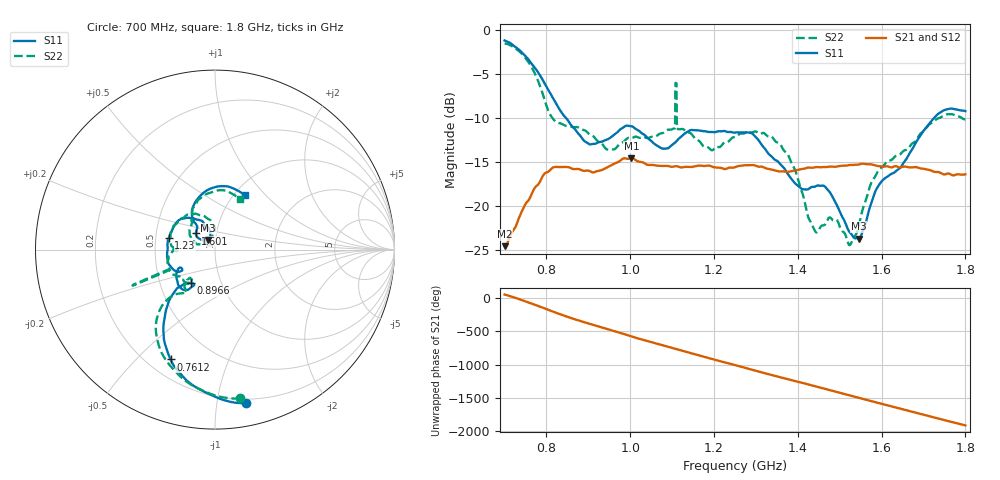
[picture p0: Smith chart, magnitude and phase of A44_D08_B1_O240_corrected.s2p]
! Created with skrf 1.9.0 (http://scikit-rf.org).
# Hz S RI R 50.0
!freq ReS11 ImS11 ReS21 ImS21 ReS12 ImS12 ReS22 ImS22
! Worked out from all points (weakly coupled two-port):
!   1601 points, 700 MHz to 1.8 GHz, reference 50 ohm
!   highest |S21| = -14.53 dB at 1.002 GHz (marker M1); lowest = -24.5 dB at 700.7 MHz (marker M2)
!   lowest |S11| = -23.7 dB at 1.546 GHz (marker M3), VSWR 1.14, Z = 46.1 + j5 ohm
!   |S11| at or under -10 dB: 847 MHz to 1.725 GHz (877.6 MHz wide, 68.3 % of centre)
!   |S22| runs from -24.4 to -1.5 dB; largest |S21 - S12| = 0.0036
!   S11 on the Smith chart (normalised r, x): 700 MHz: 0.17, -1.21; 761.2 MHz: 0.29, -0.63; 896.6 MHz: 0.72, -0.28; 1.23 GHz: 0.59, +0.08; 1.601 GHz: 0.80, +0.15; 1.8 GHz: 1.11, +0.77
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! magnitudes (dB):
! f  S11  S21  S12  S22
! 700 MHz  -1.2  -24.5  -24.3  -1.5
! 700.7 MHz  -1.2  -24.5  -24.2  -1.5
! 761.2 MHz  -3.6  -19.0  -18.9  -3.9
! 815.5 MHz  -7.7  -15.6  -15.7  -10.1
! 883.6 MHz  -12.2  -15.9  -15.8  -11.3
! 896.6 MHz  -12.8  -15.9  -16.0  -11.6
! 947.5 MHz  -12.4  -15.5  -15.5  -13.6
! 1.002 GHz  -10.9  -14.5  -14.6  -12.3
! 1.067 GHz  -13.2  -15.4  -15.3  -11.9
! 1.109 GHz  -12.7  -15.5  -15.5  -6.0
! 1.176 GHz  -11.5  -15.4  -15.4  -13.2
! 1.23 GHz  -11.5  -15.7  -15.7  -12.7
! 1.25 GHz  -11.6  -15.6  -15.5  -12.1
! 1.357 GHz  -15.2  -16.1  -16.0  -12.9
! 1.434 GHz  -17.8  -15.6  -15.6  -22.1
! 1.491 GHz  -19.7  -15.5  -15.5  -21.5
! 1.524 GHz  -22.9  -15.3  -15.3  -24.4
! 1.546 GHz  -23.7  -15.3  -15.2  -22.2
! 1.601 GHz  -17.1  -15.5  -15.5  -15.6
! 1.617 GHz  -16.5  -15.5  -15.5  -14.8
! 1.734 GHz  -9.5  -16.1  -16.2  -10.0
! 1.8 GHz  -9.2  -16.4  -16.4  -10.1
